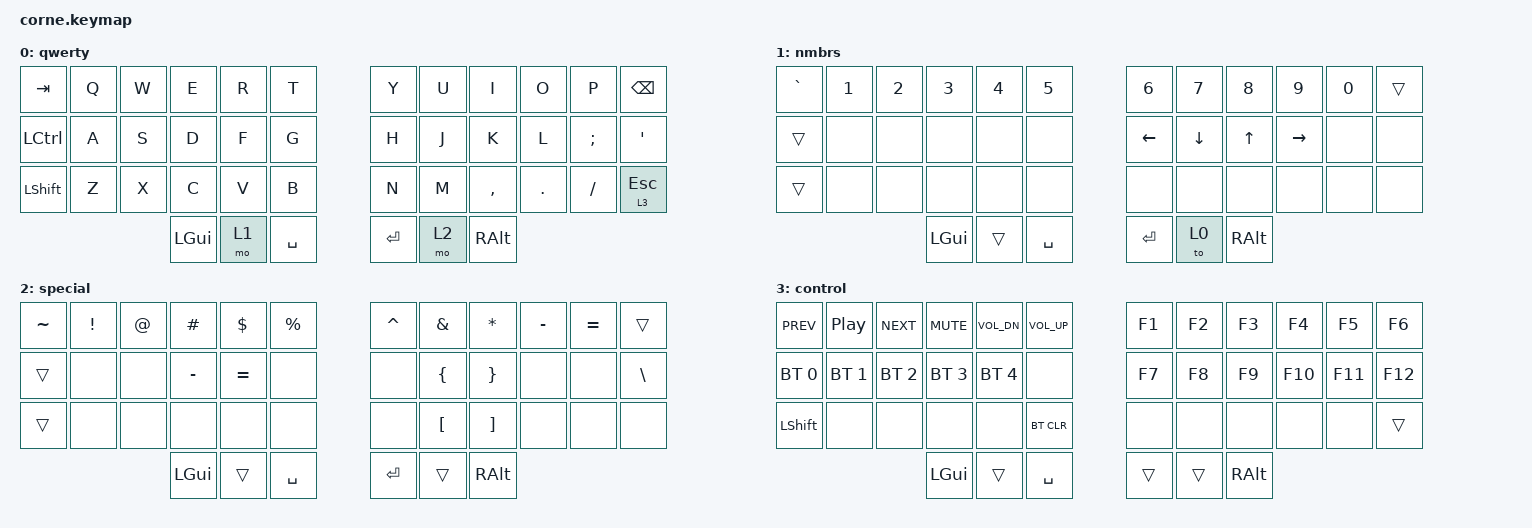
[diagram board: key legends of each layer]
/*
 * Copyright (c) 2020 The ZMK Contributors
 *
 * SPDX-License-Identifier: MIT
 */

#include <behaviors.dtsi>
#include <dt-bindings/zmk/bt.h>
#include <dt-bindings/zmk/keys.h>

/ {
    combos { compatible = "zmk,combos"; };

    keymap {
        compatible = "zmk,keymap";

        qwerty {
            bindings = <
&kp TAB    &kp Q  &kp W  &kp E     &kp R  &kp T        &kp Y    &kp U  &kp I      &kp O    &kp P     &kp BSPC
&kp LCTRL  &kp A  &kp S  &kp D     &kp F  &kp G        &kp H    &kp J  &kp K      &kp L    &kp SEMI  &kp SQT
&kp LSHFT  &kp Z  &kp X  &kp C     &kp V  &kp B        &kp N    &kp M  &kp COMMA  &kp DOT  &kp FSLH  &lt 3 ESCAPE
                         &kp LGUI  &mo 1  &kp SPACE    &kp RET  &mo 2  &kp RALT
            >;

            label = "qwerty";
        };

        nmbrs {
            // -----------------------------------------------------------------------------------------
            // |  TAB |  1  |  2  |  3  |  4  |  5  |   |  6  |  7  |  8  |  9  |  0  | BKSP |
            // | BTCLR| BT1 | BT2 | BT3 | BT4 | BT5 |   | LFT | DWN |  UP | RGT |     |      |
            // | SHFT |     |     |     |     |     |   |     |     |     |     |     |      |
            //                    | GUI |     | SPC |   | ENT |     | ALT |

            bindings = <
&kp GRAVE  &kp N1  &kp N2  &kp N3    &kp N4  &kp N5       &kp N6    &kp N7    &kp N8    &kp N9     &kp N0  &trans
&trans     &none   &none   &none     &none   &none        &kp LEFT  &kp DOWN  &kp UP    &kp RIGHT  &none   &none
&trans     &none   &none   &none     &none   &none        &none     &none     &none     &none      &none   &none
                           &kp LGUI  &trans  &kp SPACE    &kp RET   &to 0     &kp RALT
            >;

            label = "nmbrs";
        };

        special {
            bindings = <
&kp TILDE  &kp EXCL  &kp AT  &kp HASH   &kp DOLLAR  &kp PERCENT    &kp CARET  &kp AMPERSAND     &kp ASTERISK       &kp MINUS  &kp EQUAL  &trans
&trans     &none     &none   &kp MINUS  &kp EQUAL   &none          &none      &kp LEFT_BRACE    &kp RIGHT_BRACE    &none      &none      &kp BACKSLASH
&trans     &none     &none   &none      &none       &none          &none      &kp LEFT_BRACKET  &kp RIGHT_BRACKET  &none      &none      &none
                             &kp LGUI   &trans      &kp SPACE      &kp RET    &trans            &kp RALT
            >;

            label = "special";
        };

        control {
            // -----------------------------------------------------------------------------------------
            // |  TAB |  !  |  @  |  #  |  $  |  %  |   |  ^  |  &  |  *  |  (  |  )  | BKSP |
            // | CTRL |     |     |     |     |     |   |  -  |  =  |  [  |  ]  |  \  |  `   |
            // | SHFT |     |     |     |     |     |   |  _  |  +  |  {  |  }  | "|" |  ~   |
            //                    | GUI |     | SPC |   | ENT |     | ALT |

            bindings = <
&kp C_PREV    &kp C_PP      &kp C_NEXT    &kp C_MUTE    &kp C_VOL_DN  &kp C_VOL_UP    &kp F1  &kp F2  &kp F3    &kp F4   &kp F5   &kp F6
&bt BT_SEL 0  &bt BT_SEL 1  &bt BT_SEL 2  &bt BT_SEL 3  &bt BT_SEL 4  &none           &kp F7  &kp F8  &kp F9    &kp F10  &kp F11  &kp F12
&kp LSHFT     &none         &none         &none         &none         &bt BT_CLR      &none   &none   &none     &none    &none    &trans
                                          &kp LGUI      &trans        &kp SPACE       &trans  &trans  &kp RALT
            >;

            label = "control";
        };
    };
};
